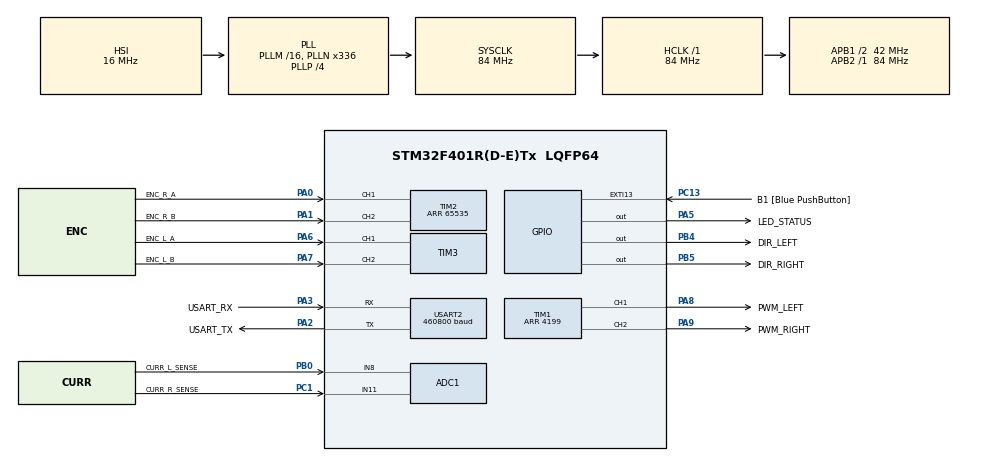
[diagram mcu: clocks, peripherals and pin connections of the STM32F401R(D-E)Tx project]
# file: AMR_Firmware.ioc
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ADC1.Channel-0\#ChannelRegularConversion=ADC_CHANNEL_8
ADC1.Channel-1\#ChannelRegularConversion=ADC_CHANNEL_11
ADC1.EOCSelection=ADC_EOC_SEQ_CONV
ADC1.NbrOfConversion=2
ADC1.NbrOfConversionFlag=1
ADC1.Rank-0\#ChannelRegularConversion=1
ADC1.Rank-1\#ChannelRegularConversion=2
ADC1.SamplingTime-0\#ChannelRegularConversion=ADC_SAMPLETIME_144CYCLES
ADC1.SamplingTime-1\#ChannelRegularConversion=ADC_SAMPLETIME_144CYCLES
ADC1.master=1
Dma.ADC1.0.Direction=DMA_PERIPH_TO_MEMORY
Dma.ADC1.0.FIFOMode=DMA_FIFOMODE_DISABLE
Dma.ADC1.0.Instance=DMA2_Stream0
Dma.ADC1.0.MemDataAlignment=DMA_MDATAALIGN_HALFWORD
Dma.ADC1.0.MemInc=DMA_MINC_ENABLE
Dma.ADC1.0.Mode=DMA_CIRCULAR
Dma.ADC1.0.PeriphDataAlignment=DMA_PDATAALIGN_HALFWORD
Dma.ADC1.0.PeriphInc=DMA_PINC_DISABLE
Dma.ADC1.0.Priority=DMA_PRIORITY_LOW
Dma.Request0=ADC1
Dma.Request1=USART2_RX
Dma.Request2=USART2_TX
Dma.USART2_RX.1.Direction=DMA_PERIPH_TO_MEMORY
Dma.USART2_RX.1.FIFOMode=DMA_FIFOMODE_DISABLE
Dma.USART2_RX.1.Instance=DMA1_Stream5
Dma.USART2_RX.1.MemDataAlignment=DMA_MDATAALIGN_BYTE
Dma.USART2_RX.1.MemInc=DMA_MINC_ENABLE
Dma.USART2_RX.1.Mode=DMA_CIRCULAR
Dma.USART2_RX.1.PeriphDataAlignment=DMA_PDATAALIGN_BYTE
Dma.USART2_RX.1.PeriphInc=DMA_PINC_DISABLE
Dma.USART2_RX.1.Priority=DMA_PRIORITY_VERY_HIGH
Dma.USART2_TX.2.Direction=DMA_MEMORY_TO_PERIPH
Dma.USART2_TX.2.FIFOMode=DMA_FIFOMODE_DISABLE
Dma.USART2_TX.2.Instance=DMA1_Stream6
Dma.USART2_TX.2.MemDataAlignment=DMA_MDATAALIGN_BYTE
Dma.USART2_TX.2.MemInc=DMA_MINC_ENABLE
Dma.USART2_TX.2.Mode=DMA_NORMAL
Dma.USART2_TX.2.PeriphDataAlignment=DMA_PDATAALIGN_BYTE
Dma.USART2_TX.2.PeriphInc=DMA_PINC_DISABLE
Dma.USART2_TX.2.Priority=DMA_PRIORITY_VERY_HIGH
FREERTOS.Tasks01=ros_exec_task,40,2500,StartRosExecTask,Default,NULL,Static,RosExecTaskBuffer,RosExecTaskControlBlock;ros_pub_task,24,2000,StartRosPubTask,Default,NULL,Static,ros_pub_taskBuffer,ros_pub_taskControlBlock
FREERTOS.configUSE_NEWLIB_REENTRANT=1
Mcu.Family=STM32F4
Mcu.Name=STM32F401R(D-E)Tx
Mcu.Package=LQFP64
NVIC.DMA1_Stream5_IRQn=true\:5\:0\:false\:false\:true\:true\:false\:true\:true
NVIC.DMA1_Stream6_IRQn=true\:5\:0\:false\:false\:true\:true\:false\:true\:true
NVIC.DMA2_Stream0_IRQn=true\:5\:0\:false\:false\:true\:true\:false\:true\:true
NVIC.PriorityGroup=NVIC_PRIORITYGROUP_4
NVIC.TIM1_BRK_TIM9_IRQn=true\:15\:0\:false\:false\:true\:false\:false\:true\:true
NVIC.TIM4_IRQn=true\:5\:0\:false\:false\:true\:true\:true\:true\:true
NVIC.TIM5_IRQn=true\:15\:0\:false\:false\:true\:false\:false\:true\:true
NVIC.TimeBase=TIM5_IRQn
NVIC.TimeBaseIP=TIM5
NVIC.USART2_IRQn=true\:5\:0\:false\:false\:true\:true\:true\:true\:true
PA0-WKUP.GPIO_Label=ENC_R_A
PA0-WKUP.Signal=S_TIM2_CH1_ETR
PA1.GPIO_Label=ENC_R_B
PA1.Signal=S_TIM2_CH2
PA13.GPIO_Label=TMS
PA13.Mode=Trace_Asynchronous_SW
PA13.Signal=SYS_JTMS-SWDIO
PA14.GPIO_Label=TCK
PA14.Mode=Trace_Asynchronous_SW
PA14.Signal=SYS_JTCK-SWCLK
PA2.GPIO_Label=USART_TX
PA2.GPIO_Mode=GPIO_MODE_AF_PP
PA2.GPIO_PuPd=GPIO_NOPULL
PA2.GPIO_Speed=GPIO_SPEED_FREQ_LOW
PA2.Mode=Asynchronous
PA2.Signal=USART2_TX
PA3.GPIO_Label=USART_RX
PA3.GPIO_Mode=GPIO_MODE_AF_PP
PA3.GPIO_PuPd=GPIO_NOPULL
PA3.GPIO_Speed=GPIO_SPEED_FREQ_LOW
PA3.Mode=Asynchronous
PA3.Signal=USART2_RX
PA5.GPIO_Label=LED_STATUS
PA5.Signal=GPIO_Output
PA6.GPIO_Label=ENC_L_A
PA6.Signal=S_TIM3_CH1
PA7.GPIO_Label=ENC_L_B
PA7.Signal=S_TIM3_CH2
PA8.GPIO_Label=PWM_LEFT
PA8.Signal=S_TIM1_CH1
PA9.GPIO_Label=PWM_RIGHT
PA9.Signal=S_TIM1_CH2
PB0.GPIO_Label=CURR_L_SENSE
PB0.Signal=ADCx_IN8
PB3.GPIO_Label=SWO
PB3.Mode=Trace_Asynchronous_SW
PB3.Signal=SYS_JTDO-SWO
PB4.GPIO_Label=DIR_LEFT
PB4.Signal=GPIO_Output
PB5.GPIO_Label=DIR_RIGHT
PB5.Signal=GPIO_Output
PC1.GPIO_Label=CURR_R_SENSE
PC1.Signal=ADCx_IN11
PC13-ANTI_TAMP.GPIO_Label=B1 [Blue PushButton]
PC13-ANTI_TAMP.GPIO_ModeDefaultEXTI=GPIO_MODE_IT_FALLING
PC13-ANTI_TAMP.GPIO_PuPd=GPIO_NOPULL
PC13-ANTI_TAMP.Signal=GPXTI13
PC14-OSC32_IN.Mode=LSE-External-Oscillator
PC14-OSC32_IN.Signal=RCC_OSC32_IN
PC15-OSC32_OUT.Mode=LSE-External-Oscillator
PC15-OSC32_OUT.Signal=RCC_OSC32_OUT
PH0\ -\ OSC_IN.Mode=HSE-External-Clock-Source
PH0\ -\ OSC_IN.Signal=RCC_OSC_IN
PH1\ -\ OSC_OUT.Mode=HSE-External-Clock-Source
PH1\ -\ OSC_OUT.Signal=RCC_OSC_OUT
ProjectManager.HeapSize=0x200
ProjectManager.StackSize=0x400
ProjectManager.TargetToolchain=STM32CubeIDE
RCC.48MHZClocksFreq_Value=48000000
RCC.AHBFreq_Value=84000000
RCC.APB1CLKDivider=RCC_HCLK_DIV2
RCC.APB1Freq_Value=42000000
RCC.APB1TimFreq_Value=84000000
RCC.APB2Freq_Value=84000000
RCC.APB2TimFreq_Value=84000000
RCC.CortexFreq_Value=84000000
RCC.HCLKFreq_Value=84000000
RCC.HSE_VALUE=8000000
RCC.HSI_VALUE=16000000
RCC.PLLN=336
RCC.PLLP=RCC_PLLP_DIV4
RCC.PLLQ=7
RCC.SYSCLKFreq_VALUE=84000000
RCC.SYSCLKSource=RCC_SYSCLKSOURCE_PLLCLK
RCC.VCOOutputFreq_Value=336000000
SH.ADCx_IN11.0=ADC1_IN11,IN11
SH.ADCx_IN8.0=ADC1_IN8,IN8
SH.S_TIM1_CH1.0=TIM1_CH1,PWM Generation1 CH1
SH.S_TIM1_CH2.0=TIM1_CH2,PWM Generation2 CH2
SH.S_TIM2_CH1_ETR.0=TIM2_CH1,Encoder_Interface
SH.S_TIM2_CH2.0=TIM2_CH2,Encoder_Interface
SH.S_TIM3_CH1.0=TIM3_CH1,Encoder_Interface
SH.S_TIM3_CH2.0=TIM3_CH2,Encoder_Interface
TIM1.Channel-PWM\ Generation1\ CH1=TIM_CHANNEL_1
TIM1.Channel-PWM\ Generation2\ CH2=TIM_CHANNEL_2
TIM1.Period=4199
TIM2.EncoderMode=TIM_ENCODERMODE_TI12
TIM2.IC1Filter=10
TIM2.IC2Filter=10
TIM2.Period=65535
TIM3.EncoderMode=TIM_ENCODERMODE_TI12
TIM3.IC1Filter=10
TIM3.IC2Filter=10
TIM4.Period=99
TIM4.Prescaler=8399
USART2.BaudRate=460800
USART2.VirtualMode=VM_ASYNC
VP_FREERTOS_VS_CMSIS_V2.Mode=CMSIS_V2
VP_SYS_VS_tim5.Mode=TIM5
VP_TIM4_VS_ClockSourceINT.Mode=Internal
board=NUCLEO-F401RE

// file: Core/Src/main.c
/* USER CODE BEGIN Header */
/**
  ******************************************************************************
  * @file           : main.c
  * @brief          : Main program body
  ******************************************************************************
  * @attention
  *
  * Copyright (c) 2025 STMicroelectronics.
  * All rights reserved.
  *
  * This software is licensed under terms that can be found in the LICENSE file
  * in the root directory of this software component.
  * If no LICENSE file comes with this software, it is provided AS-IS.
  *
  ******************************************************************************
  */
/* USER CODE END Header */
#include "main.h"
#include "cmsis_os.h"

/* USER CODE BEGIN Includes */
#include <stdbool.h>
#include <stdint.h>
#include <math.h>
#include <rcl/rcl.h>
#include <rclc/rclc.h>
#include <rclc/executor.h>
#include <std_msgs/msg/int32.h>
#include <std_msgs/msg/float32.h>
#include <std_msgs/msg/bool.h>
#include <std_msgs/msg/empty.h>
#include <std_msgs/msg/u_int32.h>
#include <geometry_msgs/msg/twist.h>
#include <sensor_msgs/msg/joint_state.h>
#include <uxr/client/transport.h>
#include <rcutils/allocator.h>
#include <rcutils/error_handling.h>
#include <rosidl_runtime_c/string_functions.h>
#include <rosidl_runtime_c/primitives_sequence_functions.h>
#include <rmw_microros/rmw_microros.h>
#include "motor.h"
#include "encoder.h"
#include "app_config.h"
#include "current_sense.h"
#include "telemetry.h"
#include "ramp.h"
#include "pid.h"
#include "control_state.h"
#include "sensing.h"
#include "fault_monitor.h"
#include "control_loop.h"
/* USER CODE END Includes */

typedef StaticTask_t osStaticThreadDef_t;

ADC_HandleTypeDef hadc1;
DMA_HandleTypeDef hdma_adc1;

TIM_HandleTypeDef htim1;
TIM_HandleTypeDef htim2;
TIM_HandleTypeDef htim3;
TIM_HandleTypeDef htim4;

UART_HandleTypeDef huart2;
DMA_HandleTypeDef hdma_usart2_rx;
DMA_HandleTypeDef hdma_usart2_tx;

/* Definitions for control_task */
osThreadId_t control_taskHandle;
uint32_t control_taskBuffer[ 1500 ];
osStaticThreadDef_t control_taskControlBlock;
const osThreadAttr_t control_task_attributes = {
  .name = "control_task",
  .cb_mem = &control_taskControlBlock,
  .cb_size = sizeof(control_taskControlBlock),
  .stack_mem = &control_taskBuffer[0],
  .stack_size = sizeof(control_taskBuffer),
  .priority = (osPriority_t) osPriorityHigh,
};
/* Definitions for ros_exec_task */
/* Definitions for ros_pub_task */
osThreadId_t ros_pub_taskHandle;
uint32_t ros_pub_taskBuffer[ 2000 ];
osStaticThreadDef_t ros_pub_taskControlBlock;
const osThreadAttr_t ros_pub_task_attributes = {
  .name = "ros_pub_task",
  .cb_mem = &ros_pub_taskControlBlock,
  .cb_size = sizeof(ros_pub_taskControlBlock),
  .stack_mem = &ros_pub_taskBuffer[0],
  .stack_size = sizeof(ros_pub_taskBuffer),
  .priority = (osPriority_t) osPriorityHigh,
};
#if SERIAL_TELEMETRY_ENABLE
/* Definitions for telemetry_task */
osThreadId_t telemetry_taskHandle;
uint32_t telemetry_taskBuffer[ 1200 ];
osStaticThreadDef_t telemetry_taskControlBlock;
const osThreadAttr_t telemetry_task_attributes = {
  .name = "telemetry_task",
  .cb_mem = &telemetry_taskControlBlock,
  .cb_size = sizeof(telemetry_taskControlBlock),
  .stack_mem = &telemetry_taskBuffer[0],
  .stack_size = sizeof(telemetry_taskBuffer),
  .priority = (osPriority_t) osPriorityLow,
};
#endif
/* USER CODE BEGIN PV */
static uint32_t last_header_tick = 0;
static volatile uint8_t control_tick_flag = 0;
static volatile uint32_t control_tick_count = 0;
static volatile float control_tick_hz = 0.0f;
static volatile uint32_t control_tick_missed = 0;
static volatile uint32_t control_loop_count = 0;
static volatile uint32_t control_tick_lag = 0;
static volatile uint32_t control_tick_lag_max = 0;
static volatile uint32_t control_loop_last_ms = 0;
static volatile uint32_t control_loop_max_ms = 0;
static volatile float dbg_v_cmd_mps = 0.0f;
static volatile float dbg_w_cmd_rps = 0.0f;
static volatile float dbg_v_l_mps = 0.0f;
static volatile float dbg_v_r_mps = 0.0f;
static volatile float dbg_rpm_target_l = 0.0f;
static volatile float dbg_rpm_target_r = 0.0f;
static volatile float dbg_rpm_meas_l = 0.0f;
static volatile float dbg_rpm_meas_r = 0.0f;
static volatile float dbg_pid_p_l = 0.0f;
static volatile float dbg_pid_i_l = 0.0f;
static volatile float dbg_pid_d_l = 0.0f;
static volatile float dbg_pid_err_l = 0.0f;
static volatile float dbg_pid_out_l = 0.0f;
static volatile float dbg_pid_p_r = 0.0f;
static volatile float dbg_pid_i_r = 0.0f;
static volatile float dbg_pid_d_r = 0.0f;
static volatile float dbg_pid_err_r = 0.0f;
static volatile float dbg_pid_out_r = 0.0f;
static volatile float dbg_duty_cmd_l = 0.0f;
static volatile float dbg_duty_cmd_r = 0.0f;
static volatile uint8_t dbg_dir_l = 0U;
static volatile uint8_t dbg_dir_r = 0U;
//static uint32_t telemetry_decim_counter = 0;
static EncoderChannel enc_left;
static EncoderChannel enc_right;
static CurrentSense current_sense;
static ControlStateMgr ctrl_state;
static Sensing sensing;
static SensingData sense;
static FaultMonitor fault_mon;
static ControlLoop control_loop;
static MotorChannel m_left;
static MotorChannel m_right;
static rcl_allocator_t ros_allocator;
static rclc_support_t ros_support;
static rcl_node_t ros_node;
static rclc_executor_t ros_executor;
static rcl_publisher_t pub_fault_mask;
static rcl_publisher_t pub_duty_left;
static rcl_publisher_t pub_duty_right;
static rcl_publisher_t pub_wheel_state;
static rcl_publisher_t pub_safety_state;
static rcl_subscription_t sub_wheel_cmd_left;
static rcl_subscription_t sub_wheel_cmd_right;
static rcl_subscription_t sub_enable;
static rcl_subscription_t sub_estop;
static rcl_subscription_t sub_clear_fault;
static std_msgs__msg__Int32 msg_fault_mask;
static std_msgs__msg__Float32 msg_duty_left;
static std_msgs__msg__Float32 msg_duty_right;
static std_msgs__msg__Float32 msg_wheel_cmd_left;
static std_msgs__msg__Float32 msg_wheel_cmd_right;
static sensor_msgs__msg__JointState msg_wheel_state;
static std_msgs__msg__UInt32 msg_safety_state;
static std_msgs__msg__Bool msg_enable;
static std_msgs__msg__Bool msg_estop;
static std_msgs__msg__Empty msg_clear_fault;
static volatile bool ros_ready = false;
static volatile int ros_init_fail_stage = 0;
static volatile float wheel_cmd_l_rad_s = 0.0f;
static volatile float wheel_cmd_r_rad_s = 0.0f;
static volatile uint32_t last_wheel_cmd_ms = 0U;
static volatile float duty_cmd_l_pub = 0.0f;
static volatile float duty_cmd_r_pub = 0.0f;
static volatile bool enable_cmd = true;
static volatile bool soft_estop_cmd = false;
static volatile bool clear_fault_cmd = false;
/* USER CODE END PV */

void SystemClock_Config(void);
static void MX_GPIO_Init(void);
static void MX_DMA_Init(void);
static void MX_USART2_UART_Init(void);
static void MX_ADC1_Init(void);
static void MX_TIM1_Init(void);
static void MX_TIM2_Init(void);
static void MX_TIM3_Init(void);
static void MX_TIM4_Init(void);
void StartControlTask(void *argument);
void StartRosPubTask(void *argument);
#if SERIAL_TELEMETRY_ENABLE
void StartTelemetryTask(void *argument);
#endif
void WheelCmdLeftCallback(const void * msgin);
void WheelCmdRightCallback(const void * msgin);
void EnableCallback(const void * msgin);
void EstopCallback(const void * msgin);
void ClearFaultCallback(const void * msgin);

/* USER CODE BEGIN PFP */

bool cubemx_transport_open(struct uxrCustomTransport * transport);
bool cubemx_transport_close(struct uxrCustomTransport * transport);
size_t cubemx_transport_write(struct uxrCustomTransport* transport, const uint8_t * buf, size_t len, uint8_t * err);
size_t cubemx_transport_read(struct uxrCustomTransport* transport, uint8_t* buf, size_t len, int timeout, uint8_t* err);
void * microros_allocate(size_t size, void * state);
void microros_deallocate(void * pointer, void * state);
void * microros_reallocate(void * pointer, size_t size, void * state);
void * microros_zero_allocate(size_t number_of_elements, size_t size_of_element, void * state);
/* USER CODE END PFP */

/* USER CODE BEGIN 0 */
/* Current sensing moved to current_sense.c */

void WheelCmdLeftCallback(const void * msgin)
{
  const std_msgs__msg__Float32 * msg = (const std_msgs__msg__Float32 *)msgin;
  wheel_cmd_l_rad_s = WHEEL_CMD_L_POLARITY * msg->data;
  last_wheel_cmd_ms = HAL_GetTick();
}

void WheelCmdRightCallback(const void * msgin)
{
  const std_msgs__msg__Float32 * msg = (const std_msgs__msg__Float32 *)msgin;
  wheel_cmd_r_rad_s = WHEEL_CMD_R_POLARITY * msg->data;
  last_wheel_cmd_ms = HAL_GetTick();
}

void EnableCallback(const void * msgin)
{
  const std_msgs__msg__Bool * msg = (const std_msgs__msg__Bool *)msgin;
  enable_cmd = msg->data;
}

void EstopCallback(const void * msgin)
{
  const std_msgs__msg__Bool * msg = (const std_msgs__msg__Bool *)msgin;
  soft_estop_cmd = msg->data;
}

void ClearFaultCallback(const void * msgin)
{
  (void)msgin;
  clear_fault_cmd = true;
}
/* USER CODE END 0 */

int main(void)
{

  /* MCU Configuration--------------------------------------------------------*/

  /* Reset of all peripherals, Initializes the Flash interface and the Systick. */
  HAL_Init();

  /* Configure the system clock */
  SystemClock_Config();

  /* Initialize all configured peripherals */
  MX_GPIO_Init();
  MX_DMA_Init();
  MX_USART2_UART_Init();
  MX_ADC1_Init();
  MX_TIM1_Init();
  MX_TIM2_Init();
  MX_TIM3_Init();
  MX_TIM4_Init();
  /* USER CODE BEGIN 2 */
  // Initialize and run both motors at 10% duty (Cytron MDD20A)
  // Left motor (M1): PA8 PWM (TIM1_CH1), PB4 DIR
  Motor_Init(&m_left, &htim1, TIM_CHANNEL_1, DIR_LEFT_GPIO_Port, DIR_LEFT_Pin, __HAL_TIM_GET_AUTORELOAD(&htim1));
  Motor_SetDirection(&m_left, LEFT_DIR_POLARITY);   // forward (adjust if wiring requires inversion)
  Motor_SetDuty(&m_left, 0.0f);     // keep off initially

  // Right motor (M2): PA9 PWM (TIM1_CH2), PB5 DIR
  Motor_Init(&m_right, &htim1, TIM_CHANNEL_2, DIR_RIGHT_GPIO_Port, DIR_RIGHT_Pin, __HAL_TIM_GET_AUTORELOAD(&htim1));
  Motor_SetDirection(&m_right, RIGHT_DIR_POLARITY);  // forward (adjust if wiring requires inversion)
  Motor_SetDuty(&m_right, 0.0f);    // keep off initially

  // Start PWM at 0% to bias driver, then calibrate zero
  Motor_Start(&m_left);
  Motor_Start(&m_right);
  HAL_Delay(50);  // allow rails/driver to settle at 0% duty
  CurrentSense_Init(&current_sense, &hadc1);
  CurrentSense_Calibrate(&current_sense);
  ControlState_Init(&ctrl_state);
  Sensing_Init(&sensing, &enc_left, &enc_right, &current_sense, RPM_LPF_ALPHA);
  FaultMonitor_Init(&fault_mon);
  ControlLoop_Init(&control_loop);

  // Initialize and start encoders (Left: TIM3 16-bit, Right: TIM2 32-bit)
  Encoder_Init(&enc_left,  &htim3, ENCODER_COUNTS_PER_REV,
               __HAL_TIM_GET_AUTORELOAD(&htim3), LEFT_ENCODER_POLARITY);
  Encoder_Init(&enc_right, &htim2, ENCODER_COUNTS_PER_REV,
               __HAL_TIM_GET_AUTORELOAD(&htim2), RIGHT_ENCODER_POLARITY);
  Encoder_Start(&enc_left);
  Encoder_Start(&enc_right);
  HAL_TIM_Base_Start_IT(&htim4);
  last_header_tick = HAL_GetTick();
  /* USER CODE END 2 */

  /* Init scheduler */
  osKernelInitialize();

  /* Create the thread(s) */
  /* creation of control_task */
  control_taskHandle = osThreadNew(StartControlTask, NULL, &control_task_attributes);

#if SERIAL_TELEMETRY_ENABLE
  /* creation of telemetry_task */
  telemetry_taskHandle = osThreadNew(StartTelemetryTask, NULL, &telemetry_task_attributes);
#else
  /* creation of ros_pub_task */
  ros_pub_taskHandle = osThreadNew(StartRosPubTask, NULL, &ros_pub_task_attributes);
#endif

  /* Start scheduler */
  osKernelStart();

  /* We should never get here as control is now taken by the scheduler */

  /* Infinite loop */
  while (1)
  {

    osDelay(1);
  }
}

void SystemClock_Config(void)
{
  RCC_OscInitTypeDef RCC_OscInitStruct = {0};
  RCC_ClkInitTypeDef RCC_ClkInitStruct = {0};

  /** Configure the main internal regulator output voltage
  */
  __HAL_RCC_PWR_CLK_ENABLE();
  __HAL_PWR_VOLTAGESCALING_CONFIG(PWR_REGULATOR_VOLTAGE_SCALE2);

  /** Initializes the RCC Oscillators according to the specified parameters
  * in the RCC_OscInitTypeDef structure.
  */
  RCC_OscInitStruct.OscillatorType = RCC_OSCILLATORTYPE_HSI;
  RCC_OscInitStruct.HSIState = RCC_HSI_ON;
  RCC_OscInitStruct.HSICalibrationValue = RCC_HSICALIBRATION_DEFAULT;
  RCC_OscInitStruct.PLL.PLLState = RCC_PLL_ON;
  RCC_OscInitStruct.PLL.PLLSource = RCC_PLLSOURCE_HSI;
  RCC_OscInitStruct.PLL.PLLM = 16;
  RCC_OscInitStruct.PLL.PLLN = 336;
  RCC_OscInitStruct.PLL.PLLP = RCC_PLLP_DIV4;
  RCC_OscInitStruct.PLL.PLLQ = 7;
  if (HAL_RCC_OscConfig(&RCC_OscInitStruct) != HAL_OK)
  {
    Error_Handler();
  }

  /** Initializes the CPU, AHB and APB buses clocks
  */
  RCC_ClkInitStruct.ClockType = RCC_CLOCKTYPE_HCLK|RCC_CLOCKTYPE_SYSCLK
                              |RCC_CLOCKTYPE_PCLK1|RCC_CLOCKTYPE_PCLK2;
  RCC_ClkInitStruct.SYSCLKSource = RCC_SYSCLKSOURCE_PLLCLK;
  RCC_ClkInitStruct.AHBCLKDivider = RCC_SYSCLK_DIV1;
  RCC_ClkInitStruct.APB1CLKDivider = RCC_HCLK_DIV2;
  RCC_ClkInitStruct.APB2CLKDivider = RCC_HCLK_DIV1;

  if (HAL_RCC_ClockConfig(&RCC_ClkInitStruct, FLASH_LATENCY_2) != HAL_OK)
  {
    Error_Handler();
  }
}

static void MX_ADC1_Init(void)
{

  ADC_ChannelConfTypeDef sConfig = {0};

  /** Configure the global features of the ADC (Clock, Resolution, Data Alignment and number of conversion)
  */
  hadc1.Instance = ADC1;
  hadc1.Init.ClockPrescaler = ADC_CLOCK_SYNC_PCLK_DIV4;
  hadc1.Init.Resolution = ADC_RESOLUTION_12B;
  hadc1.Init.ScanConvMode = ENABLE;
  hadc1.Init.ContinuousConvMode = DISABLE;
  hadc1.Init.DiscontinuousConvMode = DISABLE;
  hadc1.Init.ExternalTrigConvEdge = ADC_EXTERNALTRIGCONVEDGE_NONE;
  hadc1.Init.ExternalTrigConv = ADC_SOFTWARE_START;
  hadc1.Init.DataAlign = ADC_DATAALIGN_RIGHT;
  hadc1.Init.NbrOfConversion = 2;
  hadc1.Init.DMAContinuousRequests = DISABLE;
  hadc1.Init.EOCSelection = ADC_EOC_SINGLE_CONV;
  if (HAL_ADC_Init(&hadc1) != HAL_OK)
  {
    Error_Handler();
  }

  /** Configure for the selected ADC regular channel its corresponding rank in the sequencer and its sample time.
  */
  sConfig.Channel = ADC_CHANNEL_8;
  sConfig.Rank = 1;
  sConfig.SamplingTime = ADC_SAMPLETIME_144CYCLES;
  if (HAL_ADC_ConfigChannel(&hadc1, &sConfig) != HAL_OK)
  {
    Error_Handler();
  }

  /** Configure for the selected ADC regular channel its corresponding rank in the sequencer and its sample time.
  */
  sConfig.Channel = ADC_CHANNEL_11;
  sConfig.Rank = 2;
  if (HAL_ADC_ConfigChannel(&hadc1, &sConfig) != HAL_OK)
  {
    Error_Handler();
  }

}

static void MX_TIM1_Init(void)
{

  TIM_MasterConfigTypeDef sMasterConfig = {0};
  TIM_OC_InitTypeDef sConfigOC = {0};
  TIM_BreakDeadTimeConfigTypeDef sBreakDeadTimeConfig = {0};

  htim1.Instance = TIM1;
  htim1.Init.Prescaler = 0;
  htim1.Init.CounterMode = TIM_COUNTERMODE_UP;
  htim1.Init.Period = 4199;
  htim1.Init.ClockDivision = TIM_CLOCKDIVISION_DIV1;
  htim1.Init.RepetitionCounter = 0;
  htim1.Init.AutoReloadPreload = TIM_AUTORELOAD_PRELOAD_DISABLE;
  if (HAL_TIM_PWM_Init(&htim1) != HAL_OK)
  {
    Error_Handler();
  }
  sMasterConfig.MasterOutputTrigger = TIM_TRGO_RESET;
  sMasterConfig.MasterSlaveMode = TIM_MASTERSLAVEMODE_DISABLE;
  if (HAL_TIMEx_MasterConfigSynchronization(&htim1, &sMasterConfig) != HAL_OK)
  {
    Error_Handler();
  }
  sConfigOC.OCMode = TIM_OCMODE_PWM1;
  sConfigOC.Pulse = 0;
  sConfigOC.OCPolarity = TIM_OCPOLARITY_HIGH;
  sConfigOC.OCNPolarity = TIM_OCNPOLARITY_HIGH;
  sConfigOC.OCFastMode = TIM_OCFAST_DISABLE;
  sConfigOC.OCIdleState = TIM_OCIDLESTATE_RESET;
  sConfigOC.OCNIdleState = TIM_OCNIDLESTATE_RESET;
  if (HAL_TIM_PWM_ConfigChannel(&htim1, &sConfigOC, TIM_CHANNEL_1) != HAL_OK)
  {
    Error_Handler();
  }
  if (HAL_TIM_PWM_ConfigChannel(&htim1, &sConfigOC, TIM_CHANNEL_2) != HAL_OK)
  {
    Error_Handler();
  }
  sBreakDeadTimeConfig.OffStateRunMode = TIM_OSSR_DISABLE;
  sBreakDeadTimeConfig.OffStateIDLEMode = TIM_OSSI_DISABLE;
  sBreakDeadTimeConfig.LockLevel = TIM_LOCKLEVEL_OFF;
  sBreakDeadTimeConfig.DeadTime = 0;
  sBreakDeadTimeConfig.BreakState = TIM_BREAK_DISABLE;
  sBreakDeadTimeConfig.BreakPolarity = TIM_BREAKPOLARITY_HIGH;
  sBreakDeadTimeConfig.AutomaticOutput = TIM_AUTOMATICOUTPUT_DISABLE;
  if (HAL_TIMEx_ConfigBreakDeadTime(&htim1, &sBreakDeadTimeConfig) != HAL_OK)
  {
    Error_Handler();
  }
  HAL_TIM_MspPostInit(&htim1);

}

static void MX_TIM2_Init(void)
{

  TIM_Encoder_InitTypeDef sConfig = {0};
  TIM_MasterConfigTypeDef sMasterConfig = {0};

  htim2.Instance = TIM2;
  htim2.Init.Prescaler = 0;
  htim2.Init.CounterMode = TIM_COUNTERMODE_UP;
  htim2.Init.Period = 65535;
  htim2.Init.ClockDivision = TIM_CLOCKDIVISION_DIV1;
  htim2.Init.AutoReloadPreload = TIM_AUTORELOAD_PRELOAD_DISABLE;
  sConfig.EncoderMode = TIM_ENCODERMODE_TI12;
  sConfig.IC1Polarity = TIM_ICPOLARITY_RISING;
  sConfig.IC1Selection = TIM_ICSELECTION_DIRECTTI;
  sConfig.IC1Prescaler = TIM_ICPSC_DIV1;
  sConfig.IC1Filter = 10;
  sConfig.IC2Polarity = TIM_ICPOLARITY_RISING;
  sConfig.IC2Selection = TIM_ICSELECTION_DIRECTTI;
  sConfig.IC2Prescaler = TIM_ICPSC_DIV1;
  sConfig.IC2Filter = 10;
  if (HAL_TIM_Encoder_Init(&htim2, &sConfig) != HAL_OK)
  {
    Error_Handler();
  }
  sMasterConfig.MasterOutputTrigger = TIM_TRGO_RESET;
  sMasterConfig.MasterSlaveMode = TIM_MASTERSLAVEMODE_DISABLE;
  if (HAL_TIMEx_MasterConfigSynchronization(&htim2, &sMasterConfig) != HAL_OK)
  {
    Error_Handler();
  }

}

static void MX_TIM3_Init(void)
{

  TIM_Encoder_InitTypeDef sConfig = {0};
  TIM_MasterConfigTypeDef sMasterConfig = {0};

  htim3.Instance = TIM3;
  htim3.Init.Prescaler = 0;
  htim3.Init.CounterMode = TIM_COUNTERMODE_UP;
  htim3.Init.Period = 65535;
  htim3.Init.ClockDivision = TIM_CLOCKDIVISION_DIV1;
  htim3.Init.AutoReloadPreload = TIM_AUTORELOAD_PRELOAD_DISABLE;
  sConfig.EncoderMode = TIM_ENCODERMODE_TI12;
  sConfig.IC1Polarity = TIM_ICPOLARITY_RISING;
  sConfig.IC1Selection = TIM_ICSELECTION_DIRECTTI;
  sConfig.IC1Prescaler = TIM_ICPSC_DIV1;
  sConfig.IC1Filter = 10;
  sConfig.IC2Polarity = TIM_ICPOLARITY_RISING;
  sConfig.IC2Selection = TIM_ICSELECTION_DIRECTTI;
  sConfig.IC2Prescaler = TIM_ICPSC_DIV1;
  sConfig.IC2Filter = 10;
  if (HAL_TIM_Encoder_Init(&htim3, &sConfig) != HAL_OK)
  {
    Error_Handler();
  }
  sMasterConfig.MasterOutputTrigger = TIM_TRGO_RESET;
  sMasterConfig.MasterSlaveMode = TIM_MASTERSLAVEMODE_DISABLE;
  if (HAL_TIMEx_MasterConfigSynchronization(&htim3, &sMasterConfig) != HAL_OK)
  {
    Error_Handler();
  }

}

static void MX_TIM4_Init(void)
{

  TIM_ClockConfigTypeDef sClockSourceConfig = {0};
  TIM_MasterConfigTypeDef sMasterConfig = {0};

  htim4.Instance = TIM4;
  htim4.Init.Prescaler = 8399;
  htim4.Init.CounterMode = TIM_COUNTERMODE_UP;
  htim4.Init.Period = 99;
  htim4.Init.ClockDivision = TIM_CLOCKDIVISION_DIV1;
  htim4.Init.AutoReloadPreload = TIM_AUTORELOAD_PRELOAD_DISABLE;
  if (HAL_TIM_Base_Init(&htim4) != HAL_OK)
  {
    Error_Handler();
  }
  sClockSourceConfig.ClockSource = TIM_CLOCKSOURCE_INTERNAL;
  if (HAL_TIM_ConfigClockSource(&htim4, &sClockSourceConfig) != HAL_OK)
  {
    Error_Handler();
  }
  sMasterConfig.MasterOutputTrigger = TIM_TRGO_RESET;
  sMasterConfig.MasterSlaveMode = TIM_MASTERSLAVEMODE_DISABLE;
  if (HAL_TIMEx_MasterConfigSynchronization(&htim4, &sMasterConfig) != HAL_OK)
  {
    Error_Handler();
  }

}

static void MX_USART2_UART_Init(void)
{

  huart2.Instance = USART2;
  huart2.Init.BaudRate = 460800;
  huart2.Init.WordLength = UART_WORDLENGTH_8B;
  huart2.Init.StopBits = UART_STOPBITS_1;
  huart2.Init.Parity = UART_PARITY_NONE;
  huart2.Init.Mode = UART_MODE_TX_RX;
  huart2.Init.HwFlowCtl = UART_HWCONTROL_NONE;
  huart2.Init.OverSampling = UART_OVERSAMPLING_16;
  if (HAL_UART_Init(&huart2) != HAL_OK)
  {
    Error_Handler();
  }

}

static void MX_DMA_Init(void)
{

  /* DMA controller clock enable */
  __HAL_RCC_DMA2_CLK_ENABLE();
  __HAL_RCC_DMA1_CLK_ENABLE();

  /* DMA interrupt init */
  /* DMA1_Stream5_IRQn interrupt configuration */
  HAL_NVIC_SetPriority(DMA1_Stream5_IRQn, 5, 0);
  HAL_NVIC_EnableIRQ(DMA1_Stream5_IRQn);
  /* DMA1_Stream6_IRQn interrupt configuration */
  HAL_NVIC_SetPriority(DMA1_Stream6_IRQn, 5, 0);
  HAL_NVIC_EnableIRQ(DMA1_Stream6_IRQn);
  /* DMA2_Stream0_IRQn interrupt configuration */
  HAL_NVIC_SetPriority(DMA2_Stream0_IRQn, 5, 0);
  HAL_NVIC_EnableIRQ(DMA2_Stream0_IRQn);

}

static void MX_GPIO_Init(void)
{
  GPIO_InitTypeDef GPIO_InitStruct = {0};

  /* GPIO Ports Clock Enable */
  __HAL_RCC_GPIOC_CLK_ENABLE();
  __HAL_RCC_GPIOH_CLK_ENABLE();
  __HAL_RCC_GPIOA_CLK_ENABLE();
  __HAL_RCC_GPIOB_CLK_ENABLE();

  /*Configure GPIO pin Output Level */
  HAL_GPIO_WritePin(LED_STATUS_GPIO_Port, LED_STATUS_Pin, GPIO_PIN_RESET);

  /*Configure GPIO pin Output Level */
  HAL_GPIO_WritePin(GPIOB, DIR_LEFT_Pin|DIR_RIGHT_Pin, GPIO_PIN_RESET);

  /*Configure GPIO pin : B1_Pin */
  GPIO_InitStruct.Pin = B1_Pin;
  GPIO_InitStruct.Mode = GPIO_MODE_IT_FALLING;
  GPIO_InitStruct.Pull = GPIO_NOPULL;
  HAL_GPIO_Init(B1_GPIO_Port, &GPIO_InitStruct);

  /*Configure GPIO pin : LED_STATUS_Pin */
  GPIO_InitStruct.Pin = LED_STATUS_Pin;
  GPIO_InitStruct.Mode = GPIO_MODE_OUTPUT_PP;
  GPIO_InitStruct.Pull = GPIO_NOPULL;
  GPIO_InitStruct.Speed = GPIO_SPEED_FREQ_LOW;
  HAL_GPIO_Init(LED_STATUS_GPIO_Port, &GPIO_InitStruct);

  /*Configure GPIO pins : DIR_LEFT_Pin DIR_RIGHT_Pin */
  GPIO_InitStruct.Pin = DIR_LEFT_Pin|DIR_RIGHT_Pin;
  GPIO_InitStruct.Mode = GPIO_MODE_OUTPUT_PP;
  GPIO_InitStruct.Pull = GPIO_NOPULL;
  GPIO_InitStruct.Speed = GPIO_SPEED_FREQ_LOW;
  HAL_GPIO_Init(GPIOB, &GPIO_InitStruct);

  /* USER CODE BEGIN MX_GPIO_Init_2 */
  /* Configure GPIO pin : ESTOP_Pin */
  GPIO_InitStruct.Pin = ESTOP_Pin;
  GPIO_InitStruct.Mode = GPIO_MODE_INPUT;
  GPIO_InitStruct.Pull = GPIO_PULLUP;
  HAL_GPIO_Init(ESTOP_GPIO_Port, &GPIO_InitStruct);

  /* USER CODE END MX_GPIO_Init_2 */
}

/* USER CODE BEGIN 4 */

void HAL_TIM_PeriodElapsedCallback(TIM_HandleTypeDef *htim)
{
  if (htim->Instance == TIM4) {
    if (control_tick_flag) {
      control_tick_missed++;
    }
    control_tick_flag = 1;
    control_tick_count++;
  } else if (htim->Instance == TIM5) {
    HAL_IncTick();
  }
}

/* USER CODE END 4 */

void StartControlTask(void *argument)
{
  /* USER CODE BEGIN StartControlTask */
  /* Infinite loop */
  for(;;)
  {
    // Wait for 100 Hz control tick (TIM4 interrupt sets flag)
    if (!control_tick_flag) {
      osDelay(1);
      continue;
    }
    control_tick_flag = 0;
    uint32_t loop_start_ms = HAL_GetTick();
    control_loop_count++;
    uint32_t lag = control_tick_count - control_loop_count;
    control_tick_lag = lag;
    if (lag > control_tick_lag_max) {
      control_tick_lag_max = lag;
    }
    uint32_t now = HAL_GetTick();
    static uint32_t last_tick_ms = 0U;
    static uint32_t last_tick_cnt = 0U;
    if ((now - last_tick_ms) >= 1000U) {
      uint32_t dc = control_tick_count - last_tick_cnt;
      uint32_t dt = now - last_tick_ms;
      if (dt > 0U) {
        control_tick_hz = (1000.0f * (float)dc) / (float)dt;
      }
      last_tick_ms = now;
      last_tick_cnt = control_tick_count;
    }
    float dt_s = CONTROL_LOOP_DT_S;

    // Debounce hardware e-stop input.
    bool estop_active = false;
    {
      static bool estop_init = false;
      static bool estop_raw_prev = false;
      static uint32_t estop_change_ms = 0U;
      static bool estop_debounced = false;

      GPIO_PinState estop_pin = HAL_GPIO_ReadPin(ESTOP_GPIO_Port, ESTOP_Pin);
      bool estop_raw = ESTOP_ACTIVE_LOW ? (estop_pin == GPIO_PIN_RESET) : (estop_pin == GPIO_PIN_SET);

      if (!estop_init) {
        estop_init = true;
        estop_raw_prev = estop_raw;
        estop_change_ms = now;
        estop_debounced = estop_raw;
      } else if (estop_raw != estop_raw_prev) {
        estop_raw_prev = estop_raw;
        estop_change_ms = now;
      } else if ((uint32_t)(now - estop_change_ms) >= ESTOP_DEBOUNCE_MS) {
        estop_debounced = estop_raw;
      }

      estop_active = estop_debounced;
    }
    estop_active = estop_active || soft_estop_cmd;

    // Sense encoders/currents
    sense.rpm_l = sense.rpm_r = 0.0f;
    Sensing_Step(&sensing, dt_s, &sense);

    // Control loop (PI + ramp) gated by state
    bool enabled = ControlState_IsEnabled(&ctrl_state) && !estop_active && enable_cmd;
    float rpm_target_l = 0.0f;
    float rpm_target_r = 0.0f;
    float duty_cmd_l = 0.0f, duty_cmd_r = 0.0f;
#if MOTOR_OPEN_LOOP_TEST
    if (enabled) {
      duty_cmd_l = MOTOR_OPEN_LOOP_DUTY_LEFT;
      duty_cmd_r = MOTOR_OPEN_LOOP_DUTY_RIGHT;
    }
    dbg_v_cmd_mps = 0.0f;
    dbg_w_cmd_rps = 0.0f;
    dbg_v_l_mps = 0.0f;
    dbg_v_r_mps = 0.0f;
    dbg_rpm_target_l = 0.0f;
    dbg_rpm_target_r = 0.0f;
#else
    float v_cmd = 0.0f;
    float w_cmd = 0.0f;
    bool cmd_stopped = false;
#if PID_TUNING_ENABLE
    static uint32_t last_toggle_ms = 0U;
    static uint8_t test_high = 0U;
    const float rpm_low = PID_TUNING_RPM_MAX * PID_TUNING_LOW_FRAC;
    const float rpm_high = PID_TUNING_RPM_MAX * PID_TUNING_HIGH_FRAC;
    if (!enabled) {
      test_high = 0U;
      last_toggle_ms = now;
    } else if (last_toggle_ms == 0U) {
      last_toggle_ms = now;
    } else if ((now - last_toggle_ms) >= PID_TUNING_TOGGLE_MS) {
      test_high = !test_high;
      last_toggle_ms = now;
    }
    float rpm_cmd = test_high ? rpm_high : rpm_low;
    const float two_pi = 6.28318530718f;
    v_cmd = (rpm_cmd * two_pi * WHEEL_RADIUS_M) / 60.0f;
    w_cmd = 0.0f;
    cmd_stopped = !enabled;
#else
    uint32_t wheel_cmd_age = (last_wheel_cmd_ms > 0U) ? (now - last_wheel_cmd_ms) : (WHEEL_CMD_TIMEOUT_MS + 1U);
    bool wheel_cmd_active = (wheel_cmd_age <= WHEEL_CMD_TIMEOUT_MS);
    if (wheel_cmd_active) {
      float v_l = wheel_cmd_l_rad_s * WHEEL_RADIUS_M;
      float v_r = wheel_cmd_r_rad_s * WHEEL_RADIUS_M;
      v_cmd = 0.5f * (v_l + v_r);
      w_cmd = (v_r - v_l) / TRACK_WIDTH_M;
      cmd_stopped = (fabsf(v_cmd) < CMD_STOP_EPS_MPS && fabsf(w_cmd) < CMD_STOP_EPS_RPS) ||
                    !enabled;
    } else {
      v_cmd = 0.0f;
      w_cmd = 0.0f;
      cmd_stopped = true;
    }
#endif
    static bool cmd_stopped_prev = false;
    static uint32_t launch_start_ms = 0U;

#if LAUNCH_GUARD_ENABLE
    if (!cmd_stopped && cmd_stopped_prev) {
      launch_start_ms = now;
    }
    if (!cmd_stopped) {
      uint32_t launch_age_ms = now - launch_start_ms;
      if (launch_age_ms < LAUNCH_GUARD_MS) {
        float launch_scale = (float)launch_age_ms / (float)LAUNCH_GUARD_MS;
        if (launch_scale < LAUNCH_MIN_SCALE) {
          launch_scale = LAUNCH_MIN_SCALE;
        }

        if (fabsf(v_cmd) > LAUNCH_MAX_V_MPS) {
          v_cmd = (v_cmd >= 0.0f) ? LAUNCH_MAX_V_MPS : -LAUNCH_MAX_V_MPS;
        }
        if (fabsf(w_cmd) > LAUNCH_MAX_W_RPS) {
          w_cmd = (w_cmd >= 0.0f) ? LAUNCH_MAX_W_RPS : -LAUNCH_MAX_W_RPS;
        }

        v_cmd *= launch_scale;
        w_cmd *= launch_scale;
      }
    }
#endif

    if (cmd_stopped && !cmd_stopped_prev) {
      PID_Reset(&control_loop.pid_l, sense.rpm_l);
      PID_Reset(&control_loop.pid_r, sense.rpm_r);
    }
    cmd_stopped_prev = cmd_stopped;
    bool control_enabled = enabled && !cmd_stopped;
    ControlLoop_Update(&control_loop, sense.rpm_l, sense.rpm_r, control_enabled, v_cmd, w_cmd, dt_s, now, &duty_cmd_l, &duty_cmd_r, &rpm_target_l, &rpm_target_r);
    dbg_v_cmd_mps = v_cmd;
    dbg_w_cmd_rps = w_cmd;
    dbg_v_l_mps = control_loop.v_l_mps;
    dbg_v_r_mps = control_loop.v_r_mps;
    dbg_rpm_target_l = rpm_target_l;
    dbg_rpm_target_r = rpm_target_r;
#endif
    dbg_rpm_meas_l = sense.rpm_l;
    dbg_rpm_meas_r = sense.rpm_r;
    dbg_pid_p_l = control_loop.pid_l.last_p;
    dbg_pid_i_l = control_loop.pid_l.integrator;
    dbg_pid_d_l = control_loop.pid_l.last_d;
    dbg_pid_err_l = control_loop.pid_l.last_error;
    dbg_pid_out_l = control_loop.pid_l.last_out;
    dbg_pid_p_r = control_loop.pid_r.last_p;
    dbg_pid_i_r = control_loop.pid_r.integrator;
    dbg_pid_d_r = control_loop.pid_r.last_d;
    dbg_pid_err_r = control_loop.pid_r.last_error;
    dbg_pid_out_r = control_loop.pid_r.last_out;
    duty_cmd_l_pub = duty_cmd_l;
    duty_cmd_r_pub = duty_cmd_r;
    // Set direction pins based on commanded sign, then apply magnitude as duty
    uint8_t dir_l = (duty_cmd_l >= 0.0f) ? LEFT_DIR_POLARITY : (LEFT_DIR_POLARITY ? 0U : 1U);
    uint8_t dir_r = (duty_cmd_r >= 0.0f) ? RIGHT_DIR_POLARITY : (RIGHT_DIR_POLARITY ? 0U : 1U);
    dbg_dir_l = dir_l;
    dbg_dir_r = dir_r;
    Motor_SetDirection(&m_left, dir_l);
    Motor_SetDirection(&m_right, dir_r);
    Motor_SetDuty(&m_left, duty_cmd_l);
    Motor_SetDuty(&m_right, duty_cmd_r);
    dbg_duty_cmd_l = duty_cmd_l;
    dbg_duty_cmd_r = duty_cmd_r;

    // Compute commanded duty (percent) from timer compare
    float duty_l = 0.0f;
    float duty_r = 0.0f;
    uint32_t arr = __HAL_TIM_GET_AUTORELOAD(&htim1);
    if (arr > 0U) {
      duty_l = (__HAL_TIM_GET_COMPARE(&htim1, TIM_CHANNEL_1) * 100.0f) / (float)(arr + 1U);
      duty_r = (__HAL_TIM_GET_COMPARE(&htim1, TIM_CHANNEL_2) * 100.0f) / (float)(arr + 1U);
    }

    // Fault detection (overcurrent, stall, encoder timeout, ADC stuck)
    uint32_t fault_bits = FaultMonitor_Update(&fault_mon, &sense, rpm_target_l, rpm_target_r, duty_l, duty_r, CONTROL_LOOP_DT_MS);

    // Update control state (faults from detection above, debounced e-stop)
    bool clear_cmd = clear_fault_cmd;
    clear_fault_cmd = false;
    ControlInputs cin = {0};
    cin.enable_cmd = enable_cmd;
    cin.disable_cmd = !enable_cmd;
    cin.clear_cmd = clear_cmd;
    cin.estop = estop_active;
    cin.fault_bits = fault_bits;
    ControlState_Update(&ctrl_state, &cin, now);
    // enabled flag will be used on next tick

    // Legacy UART telemetry disabled to avoid contention with micro-ROS on USART2
    uint32_t loop_elapsed_ms = HAL_GetTick() - loop_start_ms;
    control_loop_last_ms = loop_elapsed_ms;
    if (loop_elapsed_ms > control_loop_max_ms) {
      control_loop_max_ms = loop_elapsed_ms;
    }
  }
  /* USER CODE END StartControlTask */
}

void StartRosPubTask(void *argument)
{
  /* USER CODE BEGIN StartRosPubTask */
  // micro-ROS init and publishers (single-threaded to avoid rcl concurrency)
  rmw_uros_set_custom_transport(
      true,
      (void *)&huart2,
      cubemx_transport_open,
      cubemx_transport_close,
      cubemx_transport_write,
      cubemx_transport_read);

  ros_allocator = rcl_get_default_allocator();
  ros_allocator.allocate = microros_allocate;
  ros_allocator.deallocate = microros_deallocate;
  ros_allocator.reallocate = microros_reallocate;
  ros_allocator.zero_allocate = microros_zero_allocate;
  (void)rcutils_set_default_allocator(&ros_allocator);

  if (rclc_support_init(&ros_support, 0, NULL, &ros_allocator) != RCL_RET_OK) {
    ros_init_fail_stage = 1;
    goto ros_init_fail;
  }

  if (rclc_node_init_default(&ros_node, "amr_firmware", "", &ros_support) != RCL_RET_OK) {
    ros_init_fail_stage = 2;
    goto ros_init_fail;
  }

  if (rclc_publisher_init_best_effort(
          &pub_fault_mask,
          &ros_node,
          ROSIDL_GET_MSG_TYPE_SUPPORT(std_msgs, msg, Int32),
          "/amr/fault_mask") != RCL_RET_OK) {
    ros_init_fail_stage = 5;
    goto ros_init_fail;
  }

  if (rclc_publisher_init_best_effort(
          &pub_duty_left,
          &ros_node,
          ROSIDL_GET_MSG_TYPE_SUPPORT(std_msgs, msg, Float32),
          "/amr/duty_cmd_left") != RCL_RET_OK) {
    ros_init_fail_stage = 6;
    goto ros_init_fail;
  }

  if (rclc_publisher_init_best_effort(
          &pub_duty_right,
          &ros_node,
          ROSIDL_GET_MSG_TYPE_SUPPORT(std_msgs, msg, Float32),
          "/amr/duty_cmd_right") != RCL_RET_OK) {
    ros_init_fail_stage = 7;
    goto ros_init_fail;
  }

  if (rclc_publisher_init_best_effort(
          &pub_wheel_state,
          &ros_node,
          ROSIDL_GET_MSG_TYPE_SUPPORT(sensor_msgs, msg, JointState),
          "/amr/wheel_state") != RCL_RET_OK) {
    ros_init_fail_stage = 8;
    goto ros_init_fail;
  }

  if (rclc_publisher_init_best_effort(
          &pub_safety_state,
          &ros_node,
          ROSIDL_GET_MSG_TYPE_SUPPORT(std_msgs, msg, UInt32),
          "/amr/safety_state") != RCL_RET_OK) {
    ros_init_fail_stage = 9;
    goto ros_init_fail;
  }

  if (!sensor_msgs__msg__JointState__init(&msg_wheel_state)) {
    ros_init_fail_stage = 10;
    goto ros_init_fail;
  }

  if (!rosidl_runtime_c__String__Sequence__init(&msg_wheel_state.name, 2)) {
    ros_init_fail_stage = 11;
    goto ros_init_fail;
  }

  if (!rosidl_runtime_c__double__Sequence__init(&msg_wheel_state.position, 2)) {
    ros_init_fail_stage = 12;
    goto ros_init_fail;
  }

  if (!rosidl_runtime_c__double__Sequence__init(&msg_wheel_state.velocity, 2)) {
    ros_init_fail_stage = 13;
    goto ros_init_fail;
  }

  if (!rosidl_runtime_c__String__assign(&msg_wheel_state.name.data[0], "left_wheel_joint") ||
      !rosidl_runtime_c__String__assign(&msg_wheel_state.name.data[1], "right_wheel_joint")) {
    ros_init_fail_stage = 14;
    goto ros_init_fail;
  }

  if (rclc_subscription_init_default(
          &sub_wheel_cmd_left,
          &ros_node,
          ROSIDL_GET_MSG_TYPE_SUPPORT(std_msgs, msg, Float32),
          "/amr/wheel_cmd_left") != RCL_RET_OK) {
    ros_init_fail_stage = 15;
    goto ros_init_fail;
  }

  if (rclc_subscription_init_default(
          &sub_wheel_cmd_right,
          &ros_node,
          ROSIDL_GET_MSG_TYPE_SUPPORT(std_msgs, msg, Float32),
          "/amr/wheel_cmd_right") != RCL_RET_OK) {
    ros_init_fail_stage = 16;
    goto ros_init_fail;
  }

  if (rclc_subscription_init_default(
          &sub_enable,
          &ros_node,
          ROSIDL_GET_MSG_TYPE_SUPPORT(std_msgs, msg, Bool),
          "/amr/enable") != RCL_RET_OK) {
    ros_init_fail_stage = 17;
    goto ros_init_fail;
  }

  if (rclc_subscription_init_default(
          &sub_estop,
          &ros_node,
          ROSIDL_GET_MSG_TYPE_SUPPORT(std_msgs, msg, Bool),
          "/amr/estop") != RCL_RET_OK) {
    ros_init_fail_stage = 18;
    goto ros_init_fail;
  }

  if (rclc_subscription_init_default(
          &sub_clear_fault,
          &ros_node,
          ROSIDL_GET_MSG_TYPE_SUPPORT(std_msgs, msg, Empty),
          "/amr/clear_fault") != RCL_RET_OK) {
    ros_init_fail_stage = 19;
    goto ros_init_fail;
  }

  if (rclc_executor_init(&ros_executor, &ros_support.context, 5, &ros_allocator) != RCL_RET_OK) {
    ros_init_fail_stage = 20;
    goto ros_init_fail;
  }

  if (rclc_executor_add_subscription(&ros_executor, &sub_wheel_cmd_left, &msg_wheel_cmd_left, WheelCmdLeftCallback, ON_NEW_DATA) != RCL_RET_OK) {
    ros_init_fail_stage = 21;
    goto ros_init_fail;
  }

  if (rclc_executor_add_subscription(&ros_executor, &sub_wheel_cmd_right, &msg_wheel_cmd_right, WheelCmdRightCallback, ON_NEW_DATA) != RCL_RET_OK) {
    ros_init_fail_stage = 22;
    goto ros_init_fail;
  }

  if (rclc_executor_add_subscription(&ros_executor, &sub_enable, &msg_enable, EnableCallback, ON_NEW_DATA) != RCL_RET_OK) {
    ros_init_fail_stage = 23;
    goto ros_init_fail;
  }

  if (rclc_executor_add_subscription(&ros_executor, &sub_estop, &msg_estop, EstopCallback, ON_NEW_DATA) != RCL_RET_OK) {
    ros_init_fail_stage = 24;
    goto ros_init_fail;
  }

  if (rclc_executor_add_subscription(&ros_executor, &sub_clear_fault, &msg_clear_fault, ClearFaultCallback, ON_NEW_DATA) != RCL_RET_OK) {
    ros_init_fail_stage = 25;
    goto ros_init_fail;
  }

  ros_ready = true;

  /* Infinite loop */
  bool led_state = false;
  uint32_t last_pub_ms = 0U;
  for(;;)
  {
    // Pump executor to receive command topics
    rclc_executor_spin_some(&ros_executor, 1000000ULL); // 1 ms

    uint32_t now = HAL_GetTick();
    if ((last_pub_ms == 0U) || ((now - last_pub_ms) >= ROS_PUB_PERIOD_MS)) {
      last_pub_ms = now;
      // Publish wheel state and safety status
      uint32_t fault_mask = ControlState_GetFaultMask(&ctrl_state);
      // safety_state: upper 16 bits = ControlState, lower 16 bits = fault mask.
      uint32_t safety_state = ((uint32_t)ControlState_GetState(&ctrl_state) << 16) | (fault_mask & 0xFFFFu);
      const double two_pi = 6.28318530717958647692;
      const double rpm_to_rad_s = two_pi / 60.0;
      const double counts_to_rad = two_pi / (double)ENCODER_COUNTS_PER_REV;
      msg_fault_mask.data = (int32_t)fault_mask;
      msg_safety_state.data = safety_state;
      msg_duty_left.data = duty_cmd_l_pub;
      msg_duty_right.data = duty_cmd_r_pub;
      msg_wheel_state.header.stamp.sec = (int32_t)(now / 1000U);
      msg_wheel_state.header.stamp.nanosec = (uint32_t)((now % 1000U) * 1000000U);
      // Use signed encoder position (includes polarity) for wheel_state
      msg_wheel_state.position.data[0] = (double)Encoder_GetPosition(&enc_left) * counts_to_rad;
      msg_wheel_state.position.data[1] = (double)Encoder_GetPosition(&enc_right) * counts_to_rad;
      msg_wheel_state.velocity.data[0] = (double)sense.rpm_l * rpm_to_rad_s;
      msg_wheel_state.velocity.data[1] = (double)sense.rpm_r * rpm_to_rad_s;

      rcl_ret_t rc1 = rcl_publish(&pub_fault_mask, &msg_fault_mask, NULL);
      rcl_ret_t rc2 = rcl_publish(&pub_duty_left, &msg_duty_left, NULL);
      rcl_ret_t rc3 = rcl_publish(&pub_duty_right, &msg_duty_right, NULL);
      rcl_ret_t rc4 = rcl_publish(&pub_wheel_state, &msg_wheel_state, NULL);
      rcl_ret_t rc5 = rcl_publish(&pub_safety_state, &msg_safety_state, NULL);

      // Blink LED when publish succeeds; hold solid ON if any publish fails
      bool pub_ok = (rc1 == RCL_RET_OK) && (rc2 == RCL_RET_OK) && (rc3 == RCL_RET_OK) &&
                    (rc4 == RCL_RET_OK) && (rc5 == RCL_RET_OK);
      if (pub_ok) {
        led_state = !led_state;
        HAL_GPIO_WritePin(LED_STATUS_GPIO_Port, LED_STATUS_Pin, led_state ? GPIO_PIN_SET : GPIO_PIN_RESET);
      } else {
        HAL_GPIO_WritePin(LED_STATUS_GPIO_Port, LED_STATUS_Pin, GPIO_PIN_SET);
      }
    }

    osDelay(ROS_EXEC_DELAY_MS);
  }

ros_init_fail:
  // Blink stage count to indicate where init failed (1-25)
  while (1) {
    for (int i = 0; i < ros_init_fail_stage; i++) {
      HAL_GPIO_WritePin(LED_STATUS_GPIO_Port, LED_STATUS_Pin, GPIO_PIN_SET);
      osDelay(150);
      HAL_GPIO_WritePin(LED_STATUS_GPIO_Port, LED_STATUS_Pin, GPIO_PIN_RESET);
      osDelay(150);
    }
    osDelay(500);
  }
  /* USER CODE END StartRosPubTask */
}

#if SERIAL_TELEMETRY_ENABLE
void StartTelemetryTask(void *argument)
{
  /* USER CODE BEGIN StartTelemetryTask */
  Telemetry_SendHeader(&huart2);
  uint32_t last_header_ms = HAL_GetTick();
  for(;;)
  {
    uint32_t now = HAL_GetTick();
    if ((now - last_header_ms) >= SERIAL_TELEMETRY_HEADER_PERIOD_MS) {
      Telemetry_SendHeader(&huart2);
      last_header_ms = now;
    }

    TelemetryFrame f = {0};
    f.t_ms = now;
    f.cnt_l = sense.cnt_l;
    f.cnt_r = sense.cnt_r;
    f.rpm_l_x10 = (int32_t)(sense.rpm_l * 10.0f);
    f.rpm_r_x10 = (int32_t)(sense.rpm_r * 10.0f);
    f.rpm_l_tgt_x10 = (int32_t)(dbg_rpm_target_l * 10.0f);
    f.rpm_r_tgt_x10 = (int32_t)(dbg_rpm_target_r * 10.0f);
    f.duty_l_pct = (int32_t)(duty_cmd_l_pub * 100.0f);
    f.duty_r_pct = (int32_t)(duty_cmd_r_pub * 100.0f);
    f.pid_p_l_pct = (int32_t)(dbg_pid_p_l * 100.0f);
    f.pid_p_r_pct = (int32_t)(dbg_pid_p_r * 100.0f);
    f.pid_i_l_pct = (int32_t)(dbg_pid_i_l * 100.0f);
    f.pid_i_r_pct = (int32_t)(dbg_pid_i_r * 100.0f);
    f.pid_d_l_pct = (int32_t)(dbg_pid_d_l * 100.0f);
    f.pid_d_r_pct = (int32_t)(dbg_pid_d_r * 100.0f);
    f.pid_err_l_x10 = (int32_t)(dbg_pid_err_l * 10.0f);
    f.pid_err_r_x10 = (int32_t)(dbg_pid_err_r * 10.0f);
    f.adc_l_counts = sense.adc_l_counts;
    f.adc_r_counts = sense.adc_r_counts;
    f.zero_l_counts = sense.zero_l_counts;
    f.zero_r_counts = sense.zero_r_counts;
    f.curr_l_mA = sense.curr_l_mA;
    f.curr_r_mA = sense.curr_r_mA;
    f.state = (uint32_t)ControlState_GetState(&ctrl_state);
    f.fault_mask = ControlState_GetFaultMask(&ctrl_state);
    Telemetry_SendFrame(&huart2, &f);

    osDelay(SERIAL_TELEMETRY_PERIOD_MS);
  }
  /* USER CODE END StartTelemetryTask */
}
#endif

void Error_Handler(void)
{
  __disable_irq();
  while (1)
  {
  }
}
